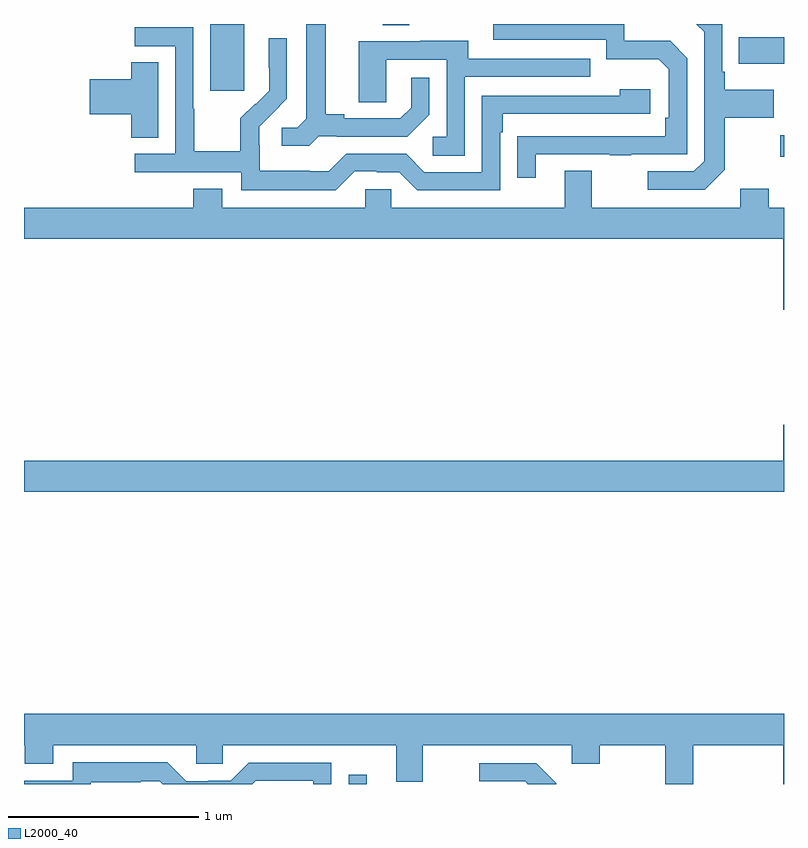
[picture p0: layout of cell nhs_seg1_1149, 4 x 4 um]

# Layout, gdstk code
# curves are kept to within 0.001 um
import gdstk
lib = gdstk.Library(unit=1e-6, precision=1e-09)
def R(c, l, rs):  # rectangles x0, y0, x1, y1
    for r in rs: c.add(gdstk.rectangle(r[:2], r[2:], *l))
def P(c, l, *ps):  # polygons
    for p in ps: c.add(gdstk.Polygon(p, *l))
L2000_40 = (2000, 40)

nhs_seg1_1149 = lib.new_cell('nhs_seg1_1149')
R(nhs_seg1_1149, L2000_40, [(174.709,546.199,174.805,546.247), (176.979,549.501,177,549.614), (173.981,549.849,174.16,550.199), (176.761,549.989,177,550.129), (174.887,550.192,175.027,550.199)])
P(nhs_seg1_1149, L2000_40, [(176.689,549.433),(176.689,549.706),(176.945,549.706),(176.945,549.853),(176.689,549.853),(176.689,549.949),(176.676,549.949),(176.676,550.199),(176.539,550.199),(176.58,550.158),(176.58,549.477),(176.526,549.423),(176.283,549.423),(176.283,549.327),(176.583,549.327)],
  [(174.552,549.609),(174.646,549.609),(174.646,549.606),(175.018,549.606),(175.134,549.722),(175.134,549.916),(175.037,549.916),(175.037,549.759),(174.98,549.702),(174.685,549.702),(174.685,549.725),(174.589,549.725),(174.589,550.199),(174.485,550.199),(174.485,549.701),(174.438,549.654),(174.357,549.654),(174.357,549.557),(174.5,549.557)],
  [(175.693,549.513),(176.083,549.513),(176.083,549.508),(176.195,549.508),(176.195,549.513),(176.49,549.513),(176.49,550.02),(176.4,550.11),(176.16,550.11),(176.16,550.199),(175.469,550.199),(175.469,550.116),(176.064,550.116),(176.064,550.013),(176.341,550.013),(176.394,549.96),(176.394,549.706),(176.374,549.706),(176.374,549.609),(175.597,549.608),(175.597,549.39),(175.693,549.39)],
  [(174.741,549.423),(174.857,549.423),(174.857,549.42),(174.975,549.42),(175.071,549.324),(175.506,549.324),(175.506,549.629),(175.519,549.629),(175.519,549.726),(176.296,549.726),(176.296,549.856),(176.135,549.856),(176.135,549.822),(175.41,549.822),(175.41,549.42),(175.107,549.42),(175.011,549.516),(174.696,549.516),(174.603,549.423),(174.503,549.423),(174.503,549.427),(174.24,549.427),(174.24,549.561),(174.238,549.561),(174.238,549.658),(174.384,549.806),(174.384,550.124),(174.288,550.124),(174.288,549.97),(174.29,549.97),(174.29,549.848),(174.219,549.777),(174.216,549.78),(174.139,549.703),(174.139,549.529),(173.895,549.529),(173.895,549.752),(173.892,549.752),(173.892,550.182),(173.583,550.182),(173.583,550.083),(173.796,550.083),(173.796,549.516),(173.583,549.516),(173.583,549.42),(174.144,549.42),(174.144,549.323),(174.641,549.323)],
  [(175.32,549.921),(175.979,549.921),(175.979,550.017),(175.339,550.017),(175.339,550.111),(175.085,550.111),(175.085,550.107),(174.761,550.107),(174.761,549.787),(174.906,549.787),(174.906,550.011),(175.224,550.011),(175.224,549.606),(175.152,549.606),(175.152,549.505),(175.32,549.505)],
  [(173.707,549.998),(173.564,549.998),(173.564,549.908),(173.346,549.908),(173.346,549.725),(173.564,549.725),(173.564,549.601),(173.707,549.601)],
  [(176.771,549.331),(176.771,549.232),(175.987,549.232),(175.987,549.427),(175.847,549.427),(175.847,549.232),(174.933,549.232),(174.933,549.33),(174.795,549.33),(174.795,549.232),(174.043,549.232),(174.043,549.331),(173.891,549.331),(173.891,549.232),(173,549.232),(173,549.068),(176.996,549.068),(176.996,548.694),(177,548.694),(177,549.232),(176.919,549.232),(176.919,549.331)],
  [(177,548.089),(176.996,548.089),(176.996,547.9),(173,547.9),(173,547.736),(177,547.736)],
  [(176.523,546.404),(176.996,546.404),(176.996,546.199),(177,546.199),(177,546.568),(173,546.568),(173,546.404),(173.003,546.404),(173.003,546.305),(173.155,546.305),(173.155,546.404),(173.907,546.404),(173.907,546.306),(174.045,546.306),(174.045,546.404),(174.959,546.404),(174.959,546.21),(175.099,546.21),(175.099,546.404),(175.883,546.404),(175.883,546.305),(176.031,546.305),(176.031,546.404),(176.375,546.404),(176.375,546.199),(176.523,546.199)],
  [(173.352,546.209),(173.615,546.209),(173.615,546.213),(173.715,546.213),(173.729,546.199),(174.202,546.199),(174.219,546.216),(174.522,546.216),(174.522,546.199),(174.618,546.199),(174.618,546.312),(174.183,546.312),(174.087,546.216),(173.969,546.216),(173.969,546.213),(173.853,546.213),(173.753,546.313),(173.256,546.313),(173.256,546.216),(173,546.216),(173,546.199),(173.352,546.199)],
  [(175.801,546.203),(175.695,546.309),(175.395,546.309),(175.395,546.213),(175.638,546.213),(175.652,546.199),(175.801,546.199)])

lib.write_gds('nhs_seg1_1149.gds')
